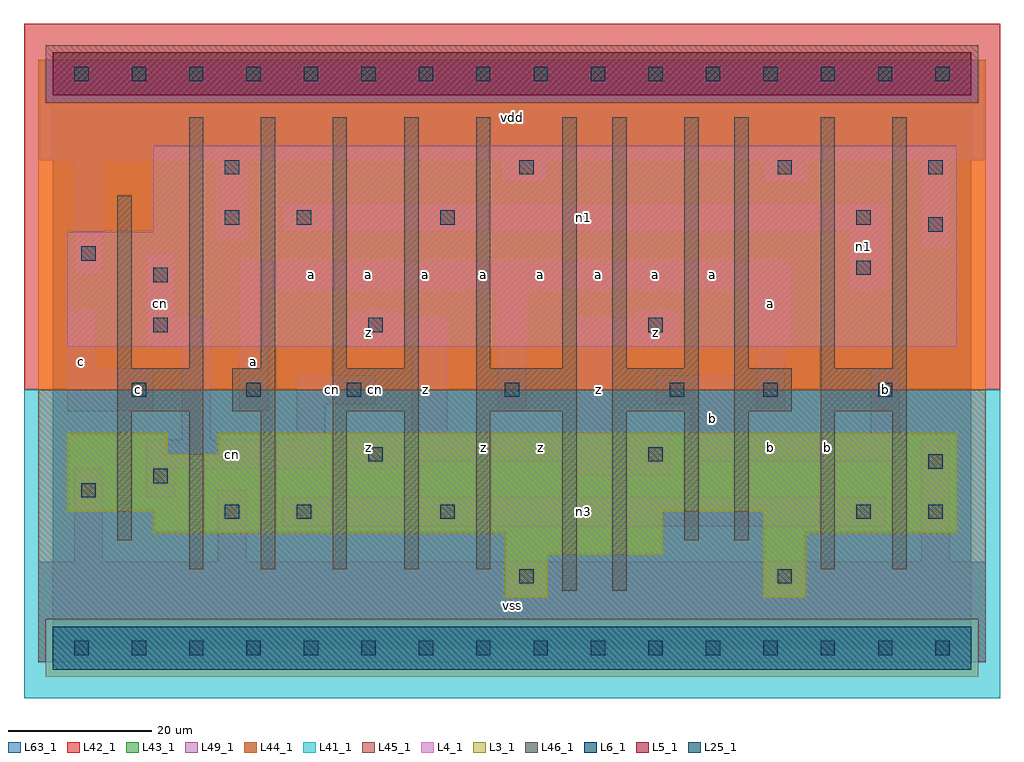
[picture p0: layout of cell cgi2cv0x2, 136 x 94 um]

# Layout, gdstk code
import gdstk
lib = gdstk.Library(unit=1e-6, precision=1e-09)
def R(c, l, rs):  # rectangles x0, y0, x1, y1
    for r in rs: c.add(gdstk.rectangle(r[:2], r[2:], *l))
def A(c, l, x, y, w, h, nx, ny, dx, dy):  # array of equal rectangles
    R(c, l, [(x+i*dx, y+j*dy, x+i*dx+w, y+j*dy+h) for i in range(nx) for j in range(ny)])
L3_1 = (3, 1)
L4_1 = (4, 1)
L5_1 = (5, 1)
L6_1 = (6, 1)
L25_1 = (25, 1)
L41_1 = (41, 1)
L42_1 = (42, 1)
L43_1 = (43, 1)
L44_1 = (44, 1)
L45_1 = (45, 1)
L46_1 = (46, 1)
L49_1 = (49, 1)
L63_1 = (63, 1)

cgi2cv0x2 = lib.new_cell('cgi2cv0x2')
R(cgi2cv0x2, L3_1, [(63,7,69,13), (99,7,105,16), (63,13,85,16), (14,16,85,19), (99,16,126,19), (2,19,126,27), (2,27,16,30), (23,27,126,30)])
R(cgi2cv0x2, L4_1, [(2,42,126,58), (14,58,126,70)])
R(cgi2cv0x2, L5_1, [(0,77,128,83)])
R(cgi2cv0x2, L6_1, [(0,-3,128,3), (0,-3,128,3)])
A(cgi2cv0x2, L25_1, 3, -1, 2, 2, 16, 2, 8, 80)
R(cgi2cv0x2, L25_1, [(65,9,67,11), (101,9,103,11), (24,18,26,20), (34,18,36,20), (54,18,56,20), (112,18,114,20), (122,18,124,20), (4,21,6,23), (14,23,16,25), (122,25,124,27), (44,26,46,28), (83,26,85,28), (11,35,13,37), (27,35,29,37), (41,35,43,37), (63,35,65,37), (86,35,88,37), (99,35,101,37), (115,35,117,37), (14,44,16,46), (44,44,46,46), (83,44,85,46), (14,51,16,53), (112,52,114,54), (4,54,6,56), (122,58,124,60), (24,59,26,61), (34,59,36,61), (54,59,56,61), (112,59,114,61), (24,66,26,68), (65,66,67,68), (101,66,103,68), (122,66,124,68)])
R(cgi2cv0x2, L41_1, [(-4,-7,132,36)])
R(cgi2cv0x2, L42_1, [(-4,36,132,87)])
R(cgi2cv0x2, L43_1, [(0,-3,128,3), (63,7,69,13), (99,7,105,16), (63,13,85,16), (14,16,85,19), (99,16,126,19), (2,19,126,27), (2,27,16,30), (23,27,126,30), (2,42,126,58), (14,58,126,70), (0,77,128,83)])
R(cgi2cv0x2, L44_1, [(-1,-4,129,4), (-2,36,130,76), (-2,76,-1,82), (129,76,130,82)])
R(cgi2cv0x2, L45_1, [(-2,-2,-1,4), (129,-2,130,4), (-2,4,130,36), (-1,76,129,84)])
A(cgi2cv0x2, L46_1, 19, 11, 2, 22, 5, 1, 10, 0)
A(cgi2cv0x2, L46_1, 19, 39, 2, 35, 5, 1, 10, 0)
R(cgi2cv0x2, L46_1, [(71,8,73,33), (78,8,80,33), (107,11,109,33), (117,11,119,33), (9,15,11,33), (88,15,90,33), (95,15,97,33), (9,33,21,39), (25,33,31,39), (39,33,51,39), (59,33,73,39), (78,33,90,39), (95,33,103,39), (107,33,119,39), (9,39,11,63), (71,39,73,74), (78,39,80,74), (88,39,90,74), (95,39,97,74), (107,39,109,74), (117,39,119,74)])
R(cgi2cv0x2, L49_1, [(-2,-2,130,12), (3,12,7,25), (23,12,27,22), (121,12,125,29), (32,17,116,21), (13,21,17,25), (73,24,86,26), (13,25,38,29), (42,25,48,26), (41,26,86,30), (89,26,118,30), (18,29,22,42), (34,29,38,34), (50,30,55,42), (73,30,78,42), (89,30,95,34), (114,30,118,39), (2,33,14,39), (26,33,30,50), (62,33,66,50), (98,33,102,42), (34,34,45,38), (84,34,95,38), (2,39,6,47), (13,42,22,46), (41,42,55,46), (73,42,87,46), (97,42,103,50), (13,46,17,55), (42,46,48,47), (81,46,87,47), (26,50,103,54), (111,50,116,58), (3,52,7,68), (121,56,125,68), (23,57,27,68), (32,58,116,62), (63,65,69,68), (99,65,105,68), (-2,68,130,82)])
R(cgi2cv0x2, L63_1, [(0,0,128,80)])
cgi2cv0x2.add(gdstk.Label('cn', (45,36), layer=46, texttype=1))
cgi2cv0x2.add(gdstk.Label('c', (4,40), layer=49, texttype=1))
cgi2cv0x2.add(gdstk.Label('c', (12,36), layer=49, texttype=1))
cgi2cv0x2.add(gdstk.Label('cn', (15,48), layer=49, texttype=1))
cgi2cv0x2.add(gdstk.Label('cn', (25,27), layer=49, texttype=1))
cgi2cv0x2.add(gdstk.Label('z', (44,28), layer=49, texttype=1))
cgi2cv0x2.add(gdstk.Label('cn', (39,36), layer=49, texttype=1))
cgi2cv0x2.add(gdstk.Label('a', (28,40), layer=49, texttype=1))
cgi2cv0x2.add(gdstk.Label('z', (44,44), layer=49, texttype=1))
cgi2cv0x2.add(gdstk.Label('a', (36,52), layer=49, texttype=1))
cgi2cv0x2.add(gdstk.Label('a', (44,52), layer=49, texttype=1))
cgi2cv0x2.add(gdstk.Label('vss', (64,6), layer=49, texttype=1))
cgi2cv0x2.add(gdstk.Label('z', (60,28), layer=49, texttype=1))
cgi2cv0x2.add(gdstk.Label('z', (68,28), layer=49, texttype=1))
cgi2cv0x2.add(gdstk.Label('z', (52,36), layer=49, texttype=1))
cgi2cv0x2.add(gdstk.Label('a', (60,52), layer=49, texttype=1))
cgi2cv0x2.add(gdstk.Label('a', (68,52), layer=49, texttype=1))
cgi2cv0x2.add(gdstk.Label('a', (52,52), layer=49, texttype=1))
cgi2cv0x2.add(gdstk.Label('vdd', (64,74), layer=49, texttype=1))
cgi2cv0x2.add(gdstk.Label('b', (100,28), layer=49, texttype=1))
cgi2cv0x2.add(gdstk.Label('b', (92,32), layer=49, texttype=1))
cgi2cv0x2.add(gdstk.Label('z', (76,36), layer=49, texttype=1))
cgi2cv0x2.add(gdstk.Label('z', (84,44), layer=49, texttype=1))
cgi2cv0x2.add(gdstk.Label('a', (100,48), layer=49, texttype=1))
cgi2cv0x2.add(gdstk.Label('a', (84,52), layer=49, texttype=1))
cgi2cv0x2.add(gdstk.Label('a', (92,52), layer=49, texttype=1))
cgi2cv0x2.add(gdstk.Label('a', (76,52), layer=49, texttype=1))
cgi2cv0x2.add(gdstk.Label('n3', (74,19), layer=49, texttype=1))
cgi2cv0x2.add(gdstk.Label('b', (108,28), layer=49, texttype=1))
cgi2cv0x2.add(gdstk.Label('b', (116,36), layer=49, texttype=1))
cgi2cv0x2.add(gdstk.Label('n1', (113,56), layer=49, texttype=1))
cgi2cv0x2.add(gdstk.Label('n1', (74,60), layer=49, texttype=1))

lib.write_gds('cgi2cv0x2.gds')
